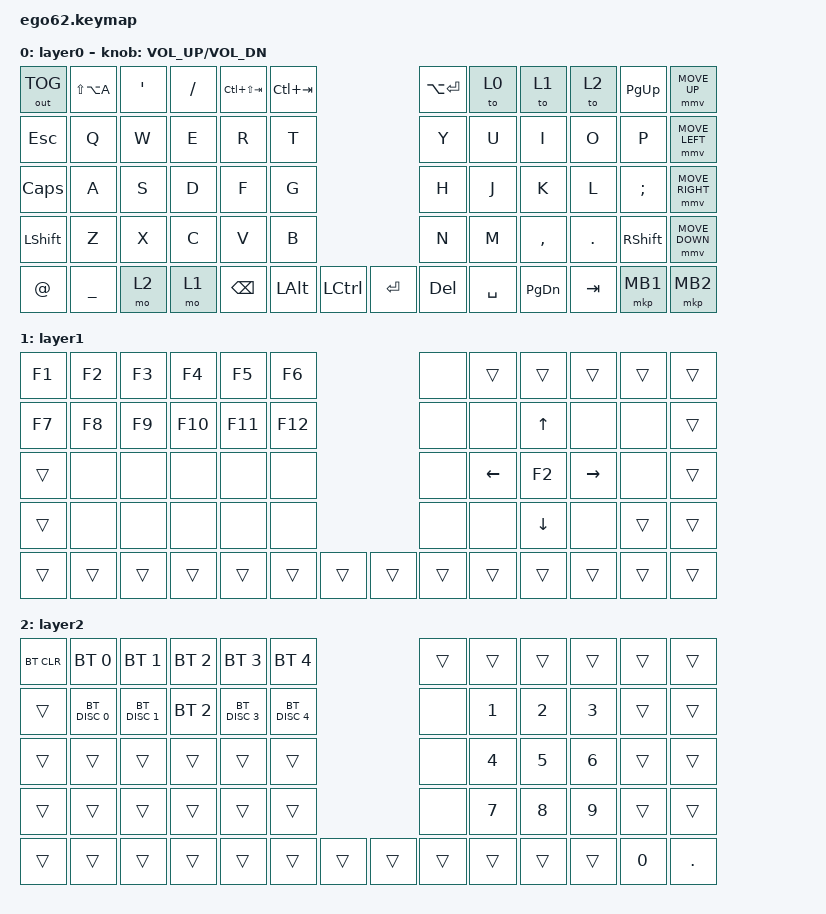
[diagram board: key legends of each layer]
/*
 * Copyright (c) 2020 The ZMK Contributors
 *
 * SPDX-License-Identifier: MIT
 */

#include <dt-bindings/zmk/mouse.h>
#include <behaviors.dtsi>
#include <dt-bindings/zmk/bt.h>
#include <dt-bindings/zmk/keys.h>
#include <dt-bindings/zmk/outputs.h>
#include <dt-bindings/zmk/pointing.h>

/ {
    keymap {
        compatible = "zmk,keymap";

        layer0 {
            bindings = <
&out OUT_TOG    &kp LS(LA(A))   &kp SINGLE_QUOTE  &kp SLASH  &kp LC(LS(TAB))  &kp LC(TAB)                         &kp LA(ENTER)  &to 0      &to 1          &to 2    &kp PAGE_UP      &mmv MOVE_UP
&kp ESC         &kp Q           &kp W             &kp E      &kp R            &kp T                               &kp Y          &kp U      &kp I          &kp O    &kp P            &mmv MOVE_LEFT
&kp CAPS        &kp A           &kp S             &kp D      &kp F            &kp G                               &kp H          &kp J      &kp K          &kp L    &kp SEMICOLON    &mmv MOVE_RIGHT
&kp LEFT_SHIFT  &kp Z           &kp X             &kp C      &kp V            &kp B                               &kp N          &kp M      &kp COMMA      &kp DOT  &kp RIGHT_SHIFT  &mmv MOVE_DOWN
&kp AT          &kp UNDERSCORE  &mo 2             &mo 1      &kp BACKSPACE    &kp LEFT_ALT  &kp LCTRL  &kp ENTER  &kp DELETE     &kp SPACE  &kp PAGE_DOWN  &kp TAB  &mkp MB1         &mkp MB2
            >;

            sensor-bindings = <&inc_dec_kp C_VOL_UP C_VOL_DN>;
        };

        layer1 {
            bindings = <
&kp F1  &kp F2  &kp F3  &kp F4   &kp F5   &kp F6                   &none   &trans    &trans          &trans     &trans  &trans
&kp F7  &kp F8  &kp F9  &kp F10  &kp F11  &kp F12                  &none   &none     &kp UP          &none      &none   &trans
&trans  &none   &none   &none    &none    &none                    &none   &kp LEFT  &kp F2          &kp RIGHT  &none   &trans
&trans  &none   &none   &none    &none    &none                    &none   &none     &kp DOWN_ARROW  &none      &trans  &trans
&trans  &trans  &trans  &trans   &trans   &trans   &trans  &trans  &trans  &trans    &trans          &trans     &trans  &trans
            >;
        };

        layer2 {
            bindings = <
&bt BT_CLR  &bt BT_SEL 0   &bt BT_SEL 1   &bt BT_SEL 2  &bt BT_SEL 3   &bt BT_SEL 4                   &trans  &trans        &trans        &trans        &trans        &trans
&trans      &bt BT_DISC 0  &bt BT_DISC 1  &bt BT_SEL 2  &bt BT_DISC 3  &bt BT_DISC 4                  &none   &kp NUMBER_1  &kp NUMBER_2  &kp NUMBER_3  &trans        &trans
&trans      &trans         &trans         &trans        &trans         &trans                         &none   &kp NUMBER_4  &kp N5        &kp NUMBER_6  &trans        &trans
&trans      &trans         &trans         &trans        &trans         &trans                         &none   &kp N7        &kp N8        &kp N9        &trans        &trans
&trans      &trans         &trans         &trans        &trans         &trans         &trans  &trans  &trans  &trans        &trans        &trans        &kp NUMBER_0  &kp PERIOD
            >;
        };
    };
};
